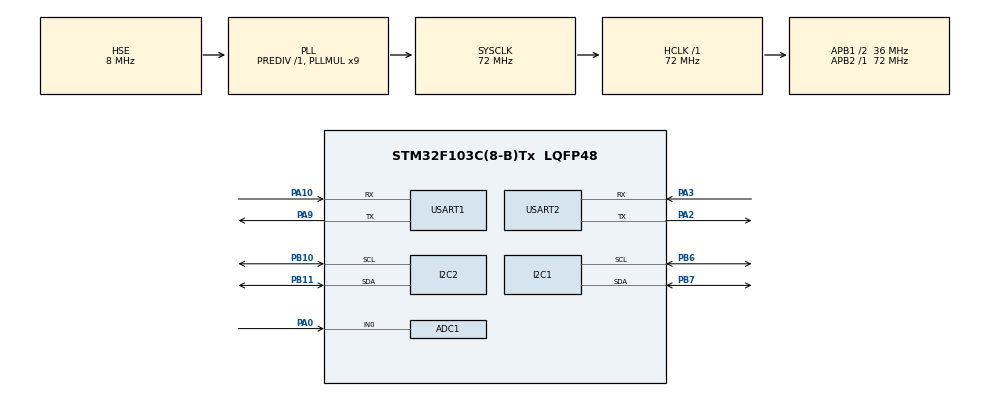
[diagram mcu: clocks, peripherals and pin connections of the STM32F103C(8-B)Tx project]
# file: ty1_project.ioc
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ADC1.Channel-0\#ChannelRegularConversion=ADC_CHANNEL_0
ADC1.NbrOfConversionFlag=1
ADC1.Rank-0\#ChannelRegularConversion=1
ADC1.SamplingTime-0\#ChannelRegularConversion=ADC_SAMPLETIME_1CYCLE_5
ADC1.master=1
Mcu.Family=STM32F1
Mcu.Name=STM32F103C(8-B)Tx
Mcu.Package=LQFP48
NVIC.I2C2_EV_IRQn=true\:0\:0\:false\:false\:true\:true\:true\:true
NVIC.PriorityGroup=NVIC_PRIORITYGROUP_4
NVIC.USART2_IRQn=true\:3\:0\:true\:false\:true\:true\:true\:true
PA0-WKUP.Signal=ADCx_IN0
PA10.Mode=Asynchronous
PA10.Signal=USART1_RX
PA13.Mode=Serial_Wire
PA13.Signal=SYS_JTMS-SWDIO
PA14.Mode=Serial_Wire
PA14.Signal=SYS_JTCK-SWCLK
PA2.Mode=Asynchronous
PA2.Signal=USART2_TX
PA3.Mode=Asynchronous
PA3.Signal=USART2_RX
PA9.Mode=Asynchronous
PA9.Signal=USART1_TX
PB10.Mode=I2C
PB10.Signal=I2C2_SCL
PB11.Mode=I2C
PB11.Signal=I2C2_SDA
PB6.Mode=I2C
PB6.Signal=I2C1_SCL
PB7.Mode=I2C
PB7.Signal=I2C1_SDA
PD0-OSC_IN.Mode=HSE-External-Oscillator
PD0-OSC_IN.Signal=RCC_OSC_IN
PD1-OSC_OUT.Mode=HSE-External-Oscillator
PD1-OSC_OUT.Signal=RCC_OSC_OUT
ProjectManager.HeapSize=0x200
ProjectManager.StackSize=0x400
ProjectManager.TargetToolchain=MDK-ARM V5.32
RCC.ADCPresc=RCC_ADCPCLK2_DIV6
RCC.AHBFreq_Value=72000000
RCC.APB1CLKDivider=RCC_HCLK_DIV2
RCC.APB1Freq_Value=36000000
RCC.APB1TimFreq_Value=72000000
RCC.APB2Freq_Value=72000000
RCC.APB2TimFreq_Value=72000000
RCC.HCLKFreq_Value=72000000
RCC.PLLMUL=RCC_PLL_MUL9
RCC.PLLSourceVirtual=RCC_PLLSOURCE_HSE
RCC.SYSCLKFreq_VALUE=72000000
RCC.SYSCLKSource=RCC_SYSCLKSOURCE_PLLCLK
RCC.USBFreq_Value=72000000
SH.ADCx_IN0.0=ADC1_IN0,IN0
USART1.VirtualMode=VM_ASYNC
USART2.VirtualMode=VM_ASYNC
board=custom

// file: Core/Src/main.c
/* USER CODE BEGIN Header */
/**
  ******************************************************************************
  * @file           : main.c
  * @brief          : Main program body
  ******************************************************************************
  * @attention
  *
  * Copyright (c) 2025 STMicroelectronics.
  * All rights reserved.
  *
  * This software is licensed under terms that can be found in the LICENSE file
  * in the root directory of this software component.
  * If no LICENSE file comes with this software, it is provided AS-IS.
  *
  ******************************************************************************
  */

/* USER CODE END Header */
#include "main.h"
#include "adc.h"
#include "i2c.h"
#include "usart.h"
#include "gpio.h"

/* USER CODE BEGIN Includes */
#include "string.h"
#include "sgp30.h"
#include "dht11.h"
#include "esp8266.h"
#include "mqtt.h"
/* USER CODE END Includes */

/* USER CODE BEGIN PTD */
extern uint8_t datas[5];
/* USER CODE END PTD */

/* USER CODE BEGIN PM */
void o2_get(float* O2_value)
{
	  //氧气浓度读取
	  int sensorValu=0;
		HAL_ADC_Start(&hadc1);//启动ADC转化
		HAL_ADC_PollForConversion(&hadc1,50);//阻塞的方式，等待ADC转换完成
		sensorValu = HAL_ADC_GetValue(&hadc1);//读取值
		*O2_value=((float)sensorValu*0.434-32)/10;
		HAL_Delay(500);
}
void co2_get(char* co2str,char* tvocstr)
{
	float co2;
	float tvoc;
	if( sgp30_sample(&co2, &tvoc) != HAL_OK){
			printf( "sgp30 samle error\r\n");
		}
	sprintf(co2str, "%.2f", co2);
	sprintf(tvocstr, "%.2f", tvoc);
	printf("co2:%s, tvoc:%s\r\n", co2str, tvocstr);

}

/* USER CODE END PM */

void SystemClock_Config(void);

int main(void)
{
  /* USER CODE BEGIN 1 */
	float O2_value=0;
	char co2str[6] = {0};
	char tvocstr[6] = {0};
  /* USER CODE END 1 */

  /* MCU Configuration--------------------------------------------------------*/

  /* Reset of all peripherals, Initializes the Flash interface and the Systick. */
  HAL_Init();

  /* Configure the system clock */
  SystemClock_Config();

  /* Initialize all configured peripherals */
  MX_GPIO_Init();
  MX_ADC1_Init();
  MX_USART1_UART_Init();
  MX_I2C1_Init();
  MX_USART2_UART_Init();
  MX_I2C2_Init();
  /* USER CODE BEGIN 2 */
	if(sgp30_init() != HAL_OK){
      printf( "sgp30 init error\r\n");
	}else{
			printf("sgp30 init ok\r\n");
	}
	HAL_Delay(1000);
	esp8266_init(115200);
  printf("hello world!\r\n");

  printf("MQTT初始化...\r\n");
  mqtt_init();

  printf("MQTT连接...\r\n");
  mqtt_connect(MQTT_ClientID, MQTT_UserName, MQTT_PassWord);

  uint8_t data_send[512] = {0};

  /* USER CODE END 2 */

  /* Infinite loop */
  while (1)
  {

    /* USER CODE BEGIN 3 */
		o2_get(&O2_value);//氧气读取
		co2_get(co2str,tvocstr);//二氧化碳浓度读取
		Read_Data_From_DHT();//温度检测

		sprintf((char*)data_send,"{\"ASID\": 1,\"T\": %d.%d,\"H\": %d.%d, \"CO2\": %s, \"O2\": %lf}",datas[2],datas[3],datas[0],datas[1],co2str,O2_value);
    //printf("%s",data_send);//调试
    mqtt_publish_data(POST_TOPIC, (char *)data_send, 0);//发送数据到物联网平台

    delay_ms(3000);

   // printf("\r\n~~~~~~~~~~~~~~~~~发送心跳包~~~~~~~~~~~~~~~~~\r\n");
    mqtt_send_heart();
   // printf("\r\n~~~~~~~~~~~~~~~~~发送心跳包结束~~~~~~~~~~~~~~~~~\r\n");
		memset(datas, 0, 4);
		HAL_Delay(1000);

  }
  /* USER CODE END 3 */
}

void SystemClock_Config(void)
{
  RCC_OscInitTypeDef RCC_OscInitStruct = {0};
  RCC_ClkInitTypeDef RCC_ClkInitStruct = {0};
  RCC_PeriphCLKInitTypeDef PeriphClkInit = {0};

  /** Initializes the RCC Oscillators according to the specified parameters
  * in the RCC_OscInitTypeDef structure.
  */
  RCC_OscInitStruct.OscillatorType = RCC_OSCILLATORTYPE_HSE;
  RCC_OscInitStruct.HSEState = RCC_HSE_ON;
  RCC_OscInitStruct.HSEPredivValue = RCC_HSE_PREDIV_DIV1;
  RCC_OscInitStruct.HSIState = RCC_HSI_ON;
  RCC_OscInitStruct.PLL.PLLState = RCC_PLL_ON;
  RCC_OscInitStruct.PLL.PLLSource = RCC_PLLSOURCE_HSE;
  RCC_OscInitStruct.PLL.PLLMUL = RCC_PLL_MUL9;
  if (HAL_RCC_OscConfig(&RCC_OscInitStruct) != HAL_OK)
  {
    Error_Handler();
  }

  /** Initializes the CPU, AHB and APB buses clocks
  */
  RCC_ClkInitStruct.ClockType = RCC_CLOCKTYPE_HCLK|RCC_CLOCKTYPE_SYSCLK
                              |RCC_CLOCKTYPE_PCLK1|RCC_CLOCKTYPE_PCLK2;
  RCC_ClkInitStruct.SYSCLKSource = RCC_SYSCLKSOURCE_PLLCLK;
  RCC_ClkInitStruct.AHBCLKDivider = RCC_SYSCLK_DIV1;
  RCC_ClkInitStruct.APB1CLKDivider = RCC_HCLK_DIV2;
  RCC_ClkInitStruct.APB2CLKDivider = RCC_HCLK_DIV1;

  if (HAL_RCC_ClockConfig(&RCC_ClkInitStruct, FLASH_LATENCY_2) != HAL_OK)
  {
    Error_Handler();
  }
  PeriphClkInit.PeriphClockSelection = RCC_PERIPHCLK_ADC;
  PeriphClkInit.AdcClockSelection = RCC_ADCPCLK2_DIV6;
  if (HAL_RCCEx_PeriphCLKConfig(&PeriphClkInit) != HAL_OK)
  {
    Error_Handler();
  }
}

void Error_Handler(void)
{
  __disable_irq();
  while (1)
  {
  }
}
